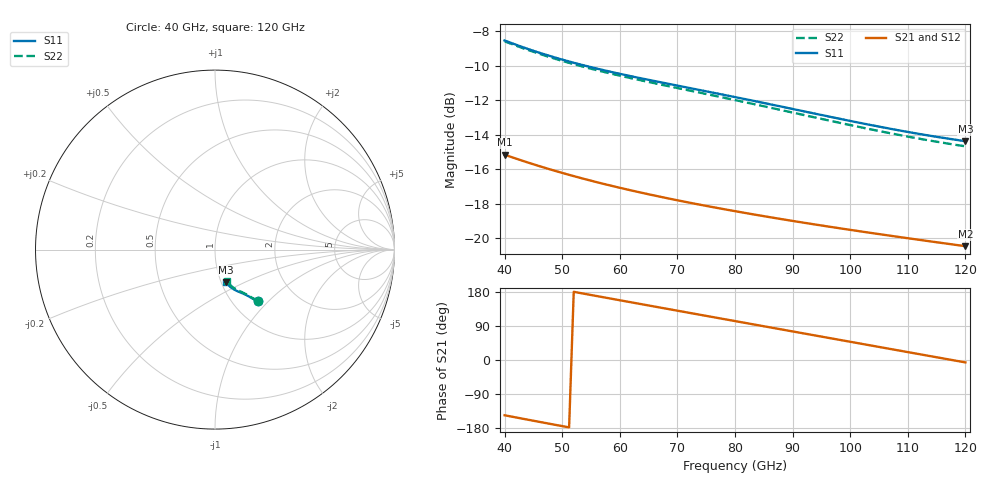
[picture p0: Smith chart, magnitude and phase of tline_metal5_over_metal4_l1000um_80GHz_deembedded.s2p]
! Created with skrf 2.2.0 (http://scikit-rf.org).
# GHz S DB R 50.0
! Port[1] = P1
! Port[2] = P2
!freq dBS11 angS11 dBS21 angS21 dBS12 angS12 dBS22 angS22
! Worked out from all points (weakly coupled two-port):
!   101 points, 40 GHz to 120 GHz, reference 50 ohm
!   highest |S21| = -15.17 dB at 40 GHz (marker M1); lowest = -20.5 dB at 120 GHz (marker M2)
!   lowest |S11| = -14.4 dB at 120 GHz (marker M3), VSWR 1.47, Z = 52.6 - j19.8 ohm
!   |S11| at or under -10 dB: 53.88 GHz to end of sweep
!   |S22| runs from -14.7 to -8.6 dB; largest |S21 - S12| = 1.9e-13
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40  -8.55 -50.4  -15.17 -145.8  -15.17 -145.8  -8.59 -50.2
43.2  -8.94 -51.6  -15.53 -155.1  -15.53 -155.1  -9.00 -51.3
46.4  -9.29 -52.6  -15.87 -164.3  -15.87 -164.3  -9.36 -52.2
49.6  -9.62 -53.5  -16.18 -173.3  -16.18 -173.3  -9.69 -53.1
53.6  -9.98 -54.6  -16.55 175.4  -16.55 175.4  -10.06 -54.2
56.8  -10.24 -55.5  -16.82 166.5  -16.82 166.5  -10.33 -55.0
60.8  -10.54 -56.6  -17.15 155.5  -17.15 155.5  -10.65 -56.1
64  -10.76 -57.6  -17.39 146.6  -17.39 146.6  -10.88 -57.0
67.2  -10.98 -58.6  -17.62 137.8  -17.62 137.8  -11.11 -57.9
70.4  -11.19 -59.6  -17.83 129.0  -17.83 129.0  -11.33 -58.9
73.6  -11.40 -60.7  -18.04 120.3  -18.04 120.3  -11.55 -59.9
76.8  -11.61 -61.7  -18.24 111.5  -18.24 111.5  -11.77 -60.9
80  -11.83 -62.8  -18.44 102.7  -18.44 102.7  -12.00 -61.9
83.2  -12.04 -63.8  -18.62 94.0  -18.62 94.0  -12.23 -62.9
86.4  -12.26 -64.8  -18.81 85.2  -18.81 85.2  -12.46 -63.8
89.6  -12.49 -65.8  -18.98 76.5  -18.98 76.5  -12.69 -64.7
93.6  -12.77 -66.9  -19.19 65.6  -19.19 65.6  -12.99 -65.6
97.6  -13.04 -67.8  -19.40 54.7  -19.40 54.7  -13.28 -66.5
100.8  -13.26 -68.5  -19.56 45.9  -19.56 45.9  -13.50 -67.1
107.2  -13.68 -69.7  -19.87 28.5  -19.87 28.5  -13.94 -68.1
113.6  -14.05 -70.6  -20.17 11.1  -20.17 11.1  -14.33 -68.9
120  -14.38 -71.5  -20.47 -6.4  -20.47 -6.4  -14.68 -69.5
